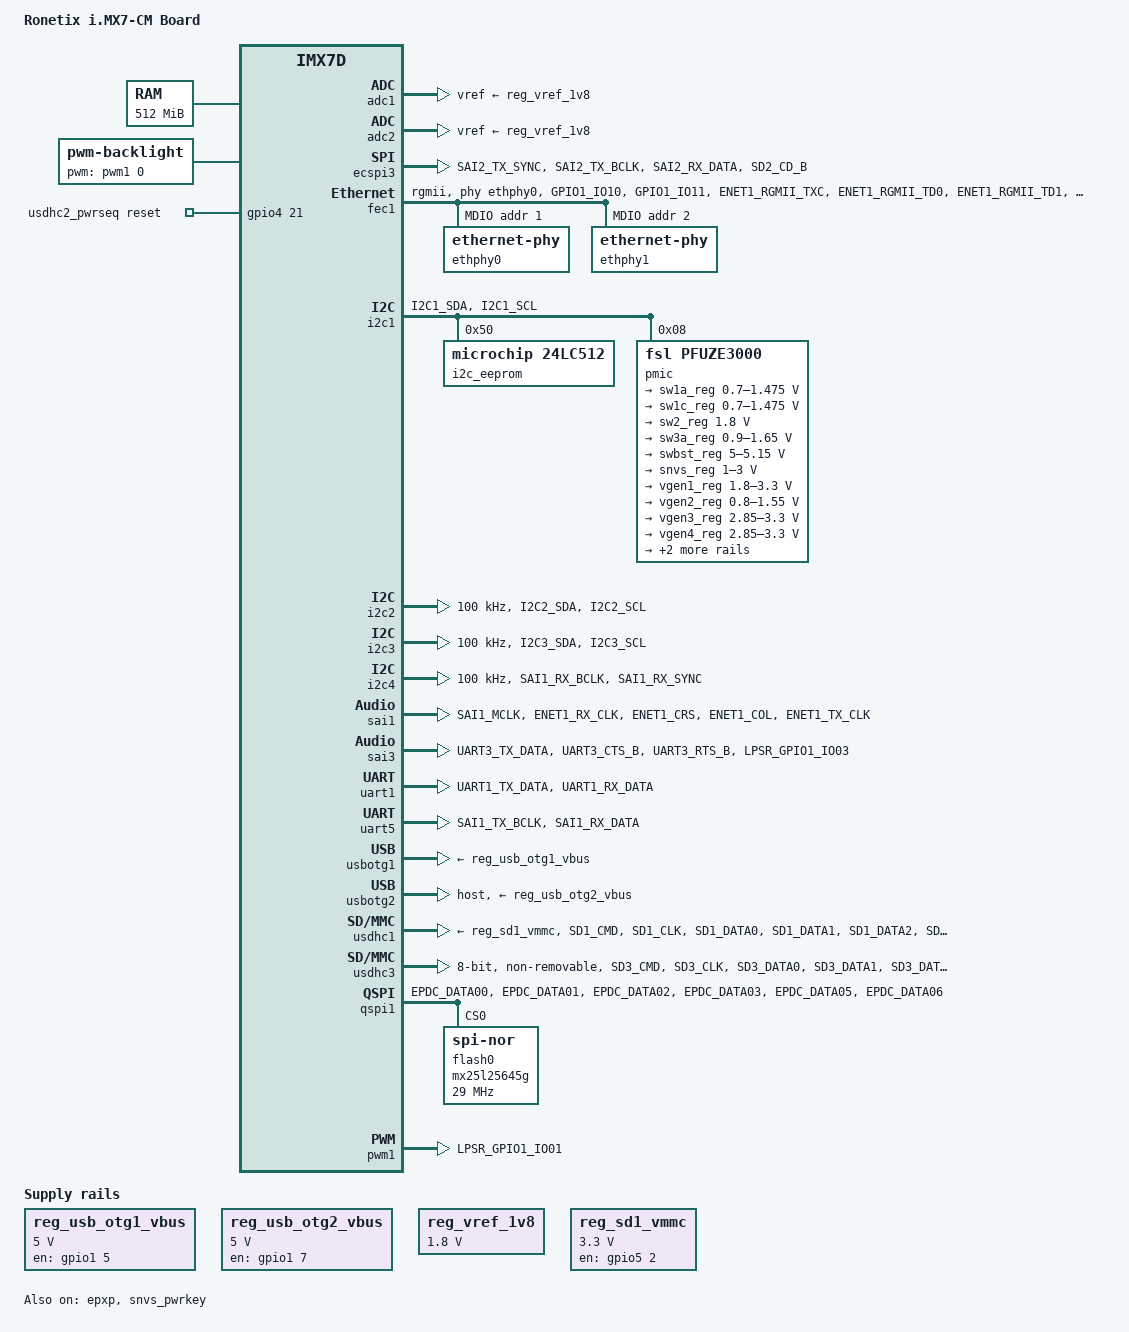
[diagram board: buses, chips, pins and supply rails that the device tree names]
// SPDX-License-Identifier: GPL-2.0+
/*
 * Copyright 2017 NXP
 */

/dts-v1/;

#include "imx7d.dtsi"

/ {
	model = "Ronetix i.MX7-CM Board";
	compatible = "fsl,imx7d-sdb", "fsl,imx7d";

	chosen {
		stdout-path = &uart1;
	};

	memory@80000000 {
		device_type = "memory";
		reg = <0x80000000 0x20000000>;
	};

	reg_usb_otg1_vbus: regulator-usb-otg1-vbus {
		compatible = "regulator-fixed";
		regulator-name = "usb_otg1_vbus";
		regulator-min-microvolt = <5000000>;
		regulator-max-microvolt = <5000000>;
		gpio = <&gpio1 5 GPIO_ACTIVE_HIGH>;
		enable-active-high;
	};

	reg_usb_otg2_vbus: regulator-usb-otg2-vbus {
		compatible = "regulator-fixed";
		regulator-name = "usb_otg2_vbus";
		pinctrl-names = "default";
		pinctrl-0 = <&pinctrl_usb_otg2_vbus_reg>;
		regulator-min-microvolt = <5000000>;
		regulator-max-microvolt = <5000000>;
		gpio = <&gpio1 7 GPIO_ACTIVE_HIGH>;
		enable-active-high;
	};

	reg_vref_1v8: regulator-vref-1v8 {
		compatible = "regulator-fixed";
		regulator-name = "vref-1v8";
		regulator-min-microvolt = <1800000>;
		regulator-max-microvolt = <1800000>;
	};

	reg_sd1_vmmc: regulator-sd1-vmmc {
		compatible = "regulator-fixed";
		regulator-name = "VDD_SD1";
		regulator-min-microvolt = <3300000>;
		regulator-max-microvolt = <3300000>;
		gpio = <&gpio5 2 GPIO_ACTIVE_HIGH>;
		startup-delay-us = <200000>;
		off-on-delay-us = <20000>;
		enable-active-high;
	};

	backlight: backlight {
		compatible = "pwm-backlight";
		pwms = <&pwm1 0 5000000 0>;
		brightness-levels = <0 4 8 16 32 64 128 255>;
		default-brightness-level = <6>;
		status = "okay";
	};

	pxp_v4l2_out {
		compatible = "fsl,imx7d-pxp-v4l2", "fsl,imx6sx-pxp-v4l2", "fsl,imx6sl-pxp-v4l2";
		status = "okay";
	};

	usdhc2_pwrseq: usdhc2_pwrseq {
		compatible = "mmc-pwrseq-simple";
		pinctrl-names = "default";
		pinctrl-0 = <&pinctrl_usdhc2_pwrseq>;
		reset-gpios = <&gpio4 21 GPIO_ACTIVE_HIGH>;
	};
};

&adc1 {
	vref-supply = <&reg_vref_1v8>;
	status = "okay";
};

&adc2 {
	vref-supply = <&reg_vref_1v8>;
	status = "okay";
};

&cpu0 {
	cpu-supply = <&sw1a_reg>;
};

&clks {
	assigned-clocks = <&clks IMX7D_PLL_AUDIO_POST_DIV>;
	assigned-clock-rates = <884736000>;
};

&ecspi3 {
	pinctrl-names = "default";
	pinctrl-0 = <&pinctrl_ecspi3>;
	cs-gpios = <&gpio5 9 GPIO_ACTIVE_HIGH>;
	status = "okay";
};

&epdc {
	status = "disabled";
};

&epxp {
	status = "okay";
};

&fec1 {
	pinctrl-names = "default";
	pinctrl-0 = <&pinctrl_enet1>;
	assigned-clocks = <&clks IMX7D_ENET_PHY_REF_ROOT_SRC>,
			  <&clks IMX7D_ENET_AXI_ROOT_SRC>,
			  <&clks IMX7D_ENET1_TIME_ROOT_SRC>,
			  <&clks IMX7D_ENET1_TIME_ROOT_CLK>,
			  <&clks IMX7D_ENET_AXI_ROOT_CLK>;
	assigned-clock-parents = <&clks IMX7D_PLL_ENET_MAIN_25M_CLK>,
				 <&clks IMX7D_PLL_ENET_MAIN_250M_CLK>,
				 <&clks IMX7D_PLL_ENET_MAIN_100M_CLK>;
	assigned-clock-rates = <0>, <0>, <0>, <100000000>, <250000000>;
	phy-mode = "rgmii";
	phy-handle = <&ethphy0>;
	fsl,magic-packet;
	phy-reset-gpios = <&gpio2 4 GPIO_ACTIVE_LOW>;
	status = "okay";

	mdio {
		#address-cells = <1>;
		#size-cells = <0>;

		ethphy0: ethernet-phy@0 {
			reg = <1>;
		};

		ethphy1: ethernet-phy@1 {
			reg = <2>;
		};
	};
};

&fec2 {
	pinctrl-names = "default";
	pinctrl-0 = <&pinctrl_enet2>;
	assigned-clocks = <&clks IMX7D_ENET_PHY_REF_ROOT_SRC>,
			  <&clks IMX7D_ENET_AXI_ROOT_SRC>,
			  <&clks IMX7D_ENET2_TIME_ROOT_SRC>,
			  <&clks IMX7D_ENET2_TIME_ROOT_CLK>,
			  <&clks IMX7D_ENET_AXI_ROOT_CLK>;
	assigned-clock-parents = <&clks IMX7D_PLL_ENET_MAIN_25M_CLK>,
				 <&clks IMX7D_PLL_ENET_MAIN_250M_CLK>,
				 <&clks IMX7D_PLL_ENET_MAIN_100M_CLK>;
	assigned-clock-rates = <0>, <0>, <0>, <100000000>, <250000000>;
	phy-mode = "rgmii";
	phy-handle = <&ethphy1>;
	fsl,magic-packet;
	status = "disabled";
};

&i2c1 {
	pinctrl-names = "default";
	pinctrl-0 = <&pinctrl_i2c1>;
	status = "okay";

	i2c_eeprom: i2c_eeprom@50 {
		compatible = "microchip,24lc512";
		reg = <0x50>;
		pagesize = <128>;
	};

	pmic: pfuze3000@8 {
		compatible = "fsl,pfuze3000";
		reg = <0x08>;

		regulators {
			sw1a_reg: sw1a {
				regulator-min-microvolt = <700000>;
				regulator-max-microvolt = <1475000>;
				regulator-boot-on;
				regulator-always-on;
				regulator-ramp-delay = <6250>;
			};

			/* use sw1c_reg to align with pfuze100/pfuze200 */
			sw1c_reg: sw1b {
				regulator-min-microvolt = <700000>;
				regulator-max-microvolt = <1475000>;
				regulator-boot-on;
				regulator-always-on;
				regulator-ramp-delay = <6250>;
			};

			sw2_reg: sw2 {
				regulator-min-microvolt = <1800000>;
				regulator-max-microvolt = <1800000>;
				regulator-boot-on;
				regulator-always-on;
			};

			sw3a_reg: sw3 {
				regulator-min-microvolt = <900000>;
				regulator-max-microvolt = <1650000>;
				regulator-boot-on;
				regulator-always-on;
			};

			swbst_reg: swbst {
				regulator-min-microvolt = <5000000>;
				regulator-max-microvolt = <5150000>;
			};

			snvs_reg: vsnvs {
				regulator-min-microvolt = <1000000>;
				regulator-max-microvolt = <3000000>;
				regulator-boot-on;
				regulator-always-on;
			};

			vref_reg: vrefddr {
				regulator-boot-on;
				regulator-always-on;
			};

			vgen1_reg: vldo1 {
				regulator-min-microvolt = <1800000>;
				regulator-max-microvolt = <3300000>;
				regulator-always-on;
			};

			vgen2_reg: vldo2 {
				regulator-min-microvolt = <800000>;
				regulator-max-microvolt = <1550000>;
			};

			vgen3_reg: vccsd {
				regulator-min-microvolt = <2850000>;
				regulator-max-microvolt = <3300000>;
				regulator-always-on;
			};

			vgen4_reg: v33 {
				regulator-min-microvolt = <2850000>;
				regulator-max-microvolt = <3300000>;
				regulator-always-on;
			};

			vgen5_reg: vldo3 {
				regulator-min-microvolt = <1800000>;
				regulator-max-microvolt = <3300000>;
				regulator-always-on;
			};

			vgen6_reg: vldo4 {
				regulator-min-microvolt = <2800000>;
				regulator-max-microvolt = <2800000>;
				regulator-always-on;
			};
		};
	};
};

&i2c2 {
	clock-frequency = <100000>;
	pinctrl-names = "default";
	pinctrl-0 = <&pinctrl_i2c2>;
	status = "okay";
};

&i2c3 {
	clock-frequency = <100000>;
	pinctrl-names = "default";
	pinctrl-0 = <&pinctrl_i2c3>;
	status = "okay";
};

&i2c4 {
	clock-frequency = <100000>;
	pinctrl-names = "default";
	pinctrl-0 = <&pinctrl_i2c4>;
	status = "okay";
};

&sai1 {
	pinctrl-names = "default";
	pinctrl-0 = <&pinctrl_sai1>;
	assigned-clocks = <&clks IMX7D_SAI1_ROOT_SRC>,
			  <&clks IMX7D_SAI1_ROOT_CLK>;
	assigned-clock-parents = <&clks IMX7D_PLL_AUDIO_POST_DIV>;
	assigned-clock-rates = <0>, <36864000>;
	status = "okay";
};

&sai3 {
	pinctrl-names = "default";
	pinctrl-0 = <&pinctrl_sai3 &pinctrl_sai3_mclk>;
	assigned-clocks = <&clks IMX7D_SAI3_ROOT_SRC>,
			  <&clks IMX7D_SAI3_ROOT_CLK>;
	assigned-clock-parents = <&clks IMX7D_PLL_AUDIO_POST_DIV>;
	assigned-clock-rates = <0>, <36864000>;
	status = "okay";
};

&snvs_poweroff {
	status = "okay";
};

&snvs_pwrkey {
	status = "okay";
};

&uart1 {
	pinctrl-names = "default";
	pinctrl-0 = <&pinctrl_uart1>;
	assigned-clocks = <&clks IMX7D_UART1_ROOT_SRC>;
	assigned-clock-parents = <&clks IMX7D_OSC_24M_CLK>;
	status = "okay";
};

&uart5 {
	pinctrl-names = "default";
	pinctrl-0 = <&pinctrl_uart5>;
	assigned-clocks = <&clks IMX7D_UART5_ROOT_SRC>;
	assigned-clock-parents = <&clks IMX7D_PLL_SYS_MAIN_240M_CLK>;
	/* for DTE mode, add below change */
	/* fsl,dte-mode; */
	/* pinctrl-0 = <&pinctrl_uart5dte>; */
	status = "okay";
};

&usbotg1 {
	vbus-supply = <&reg_usb_otg1_vbus>;
	status = "okay";
};

&usbotg2 {
	vbus-supply = <&reg_usb_otg2_vbus>;
	dr_mode = "host";
	status = "okay";
};

&usdhc1 {
	pinctrl-names = "default", "state_100mhz", "state_200mhz";
	pinctrl-0 = <&pinctrl_usdhc1>, <&pinctrl_usdhc1_gpio>;
	pinctrl-1 = <&pinctrl_usdhc1_100mhz>, <&pinctrl_usdhc1_gpio>;
	pinctrl-2 = <&pinctrl_usdhc1_200mhz>, <&pinctrl_usdhc1_gpio>;
	cd-gpios = <&gpio5 0 GPIO_ACTIVE_HIGH>;
	wp-gpios = <&gpio5 1 GPIO_ACTIVE_LOW>;
	vmmc-supply = <&reg_sd1_vmmc>;
	status = "okay";
};

&usdhc2 {
	#address-cells = <1>;
	#size-cells = <0>;
	pinctrl-names = "default", "state_100mhz", "state_200mhz";
	pinctrl-0 = <&pinctrl_usdhc2 &pinctrl_wifi>;
	pinctrl-1 = <&pinctrl_usdhc2_100mhz &pinctrl_wifi>;
	pinctrl-2 = <&pinctrl_usdhc2_200mhz &pinctrl_wifi>;
	keep-power-in-suspend;
	non-removable;
	mmc-pwrseq = <&usdhc2_pwrseq>;
	fsl,tuning-step = <2>;
	pm-ignore-notify;
	cap-power-off-card;
	status = "disabled";
};

&usdhc3 {
	pinctrl-names = "default", "state_100mhz", "state_200mhz";
	pinctrl-0 = <&pinctrl_usdhc3>;
	pinctrl-1 = <&pinctrl_usdhc3_100mhz>;
	pinctrl-2 = <&pinctrl_usdhc3_200mhz>;
	assigned-clocks = <&clks IMX7D_USDHC3_ROOT_CLK>;
	assigned-clock-rates = <400000000>;
	bus-width = <8>;
	non-removable;
	fsl,tuning-start-tap = <20>;
	fsl,tuning-step= <2>;
	/*auto-cmd23-broken;*/
	status = "okay";
};

&qspi1 {
	pinctrl-names = "default";
	pinctrl-0 = <&pinctrl_qspi1_1>;
	status = "okay";
	ddrsmp=<0>;

	flash0: mx25l25645g@0 {
		#address-cells = <1>;
		#size-cells = <1>;
		compatible = "jedec,spi-nor";
		spi-max-frequency = <29000000>;
		reg = <0>;
	};
};

&iomuxc {
	pinctrl-names = "default";
	pinctrl-0 = <&pinctrl_hog>;

	imx7d-cm {
			pinctrl_usdhc2_pwrseq: usdhc2_pwrseqgrp {
			fsl,pins = <
				MX7D_PAD_ECSPI2_MOSI__GPIO4_IO21	0x14	/* WL_REG_ON */
				MX7D_PAD_ECSPI2_SCLK__GPIO4_IO20	0x14 	/* WL_HOST_WAKE */
			>;
		};

		pinctrl_ecspi3: ecspi3grp {
			fsl,pins = <
				MX7D_PAD_SAI2_TX_SYNC__ECSPI3_MISO	0x2
				MX7D_PAD_SAI2_TX_BCLK__ECSPI3_MOSI	0x2
				MX7D_PAD_SAI2_RX_DATA__ECSPI3_SCLK	0x2
				MX7D_PAD_SD2_CD_B__GPIO5_IO9		0x59
			>;
		};

		pinctrl_enet1: enet1grp {
			fsl,pins = <
				MX7D_PAD_GPIO1_IO10__ENET1_MDIO			0x3
				MX7D_PAD_GPIO1_IO11__ENET1_MDC			0x3
				MX7D_PAD_ENET1_RGMII_TXC__ENET1_RGMII_TXC	0x1
				MX7D_PAD_ENET1_RGMII_TD0__ENET1_RGMII_TD0	0x1
				MX7D_PAD_ENET1_RGMII_TD1__ENET1_RGMII_TD1	0x1
				MX7D_PAD_ENET1_RGMII_TD2__ENET1_RGMII_TD2	0x1
				MX7D_PAD_ENET1_RGMII_TD3__ENET1_RGMII_TD3	0x1
				MX7D_PAD_ENET1_RGMII_TX_CTL__ENET1_RGMII_TX_CTL	0x1
				MX7D_PAD_ENET1_RGMII_RXC__ENET1_RGMII_RXC	0x1
				MX7D_PAD_ENET1_RGMII_RD0__ENET1_RGMII_RD0	0x1
				MX7D_PAD_ENET1_RGMII_RD1__ENET1_RGMII_RD1	0x1
				MX7D_PAD_ENET1_RGMII_RD2__ENET1_RGMII_RD2	0x1
				MX7D_PAD_ENET1_RGMII_RD3__ENET1_RGMII_RD3	0x1
				MX7D_PAD_ENET1_RGMII_RX_CTL__ENET1_RGMII_RX_CTL	0x1
				MX7D_PAD_EPDC_DATA04__GPIO2_IO4	0x14	/* ETH_RESET */

			>;
		};

		pinctrl_enet2: enet2grp {
			fsl,pins = <
				MX7D_PAD_EPDC_GDSP__ENET2_RGMII_TXC		0x1
				MX7D_PAD_EPDC_SDCE2__ENET2_RGMII_TD0		0x1
				MX7D_PAD_EPDC_SDCE3__ENET2_RGMII_TD1		0x1
				MX7D_PAD_EPDC_GDCLK__ENET2_RGMII_TD2		0x1
				MX7D_PAD_EPDC_GDOE__ENET2_RGMII_TD3		0x1
				MX7D_PAD_EPDC_GDRL__ENET2_RGMII_TX_CTL		0x1
				MX7D_PAD_EPDC_SDCE1__ENET2_RGMII_RXC		0x1
				MX7D_PAD_EPDC_SDCLK__ENET2_RGMII_RD0		0x1
				MX7D_PAD_EPDC_SDLE__ENET2_RGMII_RD1		0x1
				MX7D_PAD_EPDC_SDOE__ENET2_RGMII_RD2		0x1
				MX7D_PAD_EPDC_SDSHR__ENET2_RGMII_RD3		0x1
				MX7D_PAD_EPDC_SDCE0__ENET2_RGMII_RX_CTL		0x1
			>;
		};

		pinctrl_hog: hoggrp {
			fsl,pins = <
				MX7D_PAD_ECSPI2_SS0__GPIO4_IO23		0x34  /* bt reg on */
			>;
		};

		pinctrl_i2c1: i2c1grp {
			fsl,pins = <
				MX7D_PAD_I2C1_SDA__I2C1_SDA		0x4000007f
				MX7D_PAD_I2C1_SCL__I2C1_SCL		0x4000007f
			>;
		};

		pinctrl_i2c1_gpio: i2c1grp_gpio {
			fsl,pins = <
				MX7D_PAD_I2C1_SDA__GPIO4_IO9	0x7f
				MX7D_PAD_I2C1_SCL__GPIO4_IO8	0x7f
			>;
		};

		pinctrl_i2c2: i2c2grp {
			fsl,pins = <
				MX7D_PAD_I2C2_SDA__I2C2_SDA		0x4000007f
				MX7D_PAD_I2C2_SCL__I2C2_SCL		0x4000007f
			>;
		};

		pinctrl_i2c2_gpio: i2c2grp_gpio {
			fsl,pins = <
				MX7D_PAD_I2C2_SDA__GPIO4_IO11	0x7f
				MX7D_PAD_I2C2_SCL__GPIO4_IO10	0x7f
			>;
		};

		pinctrl_i2c3: i2c3grp {
			fsl,pins = <
				MX7D_PAD_I2C3_SDA__I2C3_SDA		0x4000007f
				MX7D_PAD_I2C3_SCL__I2C3_SCL		0x4000007f
			>;
		};

		pinctrl_i2c4: i2c4grp {
			fsl,pins = <
				MX7D_PAD_SAI1_RX_BCLK__I2C4_SDA		0x4000007f
				MX7D_PAD_SAI1_RX_SYNC__I2C4_SCL		0x4000007f
			>;
		};

		pinctrl_i2c4_gpio: i2c4grp_gpio {
			fsl,pins = <
				MX7D_PAD_SAI1_RX_BCLK__GPIO6_IO17		0x7f
				MX7D_PAD_SAI1_RX_SYNC__GPIO6_IO16		0x7f
			>;
		};

		pinctrl_sai1: sai1grp {
			fsl,pins = <
				MX7D_PAD_SAI1_MCLK__SAI1_MCLK           0x1f
				MX7D_PAD_ENET1_RX_CLK__SAI1_TX_BCLK     0x1f
				MX7D_PAD_ENET1_CRS__SAI1_TX_SYNC	0x1f
				MX7D_PAD_ENET1_COL__SAI1_TX_DATA0	0x30
				MX7D_PAD_ENET1_TX_CLK__SAI1_RX_DATA0	0x1f
			>;
		};

		pinctrl_sai2: sai2grp {
			fsl,pins = <
				MX7D_PAD_SAI2_TX_BCLK__SAI2_TX_BCLK     0x1f
				MX7D_PAD_SAI2_TX_SYNC__SAI2_TX_SYNC     0x1f
				MX7D_PAD_SAI2_TX_DATA__SAI2_TX_DATA0    0x30
				MX7D_PAD_SAI2_RX_DATA__SAI2_RX_DATA0    0x1f
			>;
		};

		pinctrl_sai3: sai3grp {
			fsl,pins = <
				MX7D_PAD_UART3_TX_DATA__SAI3_TX_BCLK   0x1f
				MX7D_PAD_UART3_CTS_B__SAI3_TX_SYNC     0x1f
				MX7D_PAD_UART3_RTS_B__SAI3_TX_DATA0    0x30
			>;
		};

		pinctrl_spi4: spi4grp {
			fsl,pins = <
				MX7D_PAD_GPIO1_IO09__GPIO1_IO9	0x59
				MX7D_PAD_GPIO1_IO12__GPIO1_IO12	0x59
				MX7D_PAD_GPIO1_IO13__GPIO1_IO13	0x59
			>;
		};

		pinctrl_uart1: uart1grp {
			fsl,pins = <
				MX7D_PAD_UART1_TX_DATA__UART1_DCE_TX	0x79
				MX7D_PAD_UART1_RX_DATA__UART1_DCE_RX	0x79
			>;
		};

		pinctrl_uart5: uart5grp {
			fsl,pins = <
				MX7D_PAD_SAI1_TX_BCLK__UART5_DCE_TX	0x79
				MX7D_PAD_SAI1_RX_DATA__UART5_DCE_RX	0x79
			>;
		};

		pinctrl_uart5dte: uart5dtegrp {
			fsl,pins = <
				MX7D_PAD_SAI1_TX_BCLK__UART5_DTE_RX 0x79
				MX7D_PAD_SAI1_RX_DATA__UART5_DTE_TX 0x79
			>;
		};

		pinctrl_uart6: uart6grp {
			fsl,pins = <
				MX7D_PAD_ECSPI1_MOSI__UART6_DCE_TX	0x79
				MX7D_PAD_ECSPI1_SCLK__UART6_DCE_RX	0x79
				MX7D_PAD_ECSPI1_SS0__UART6_DCE_CTS	0x79
				MX7D_PAD_ECSPI1_MISO__UART6_DCE_RTS	0x79
			>;
		};

		pinctrl_usdhc1_gpio: usdhc1_gpiogrp {
			fsl,pins = <
				MX7D_PAD_SD1_CD_B__GPIO5_IO0		0x59 /* CD */
				MX7D_PAD_SD1_WP__GPIO5_IO1			0x59 /* WP */
				MX7D_PAD_SD1_RESET_B__GPIO5_IO2		0x59 /* vmmc */
				MX7D_PAD_GPIO1_IO08__SD1_VSELECT	0x59 /* VSELECT */
			>;
		};

		pinctrl_usdhc1: usdhc1grp {
			fsl,pins = <
				MX7D_PAD_SD1_CMD__SD1_CMD		0x59
				MX7D_PAD_SD1_CLK__SD1_CLK		0x19
				MX7D_PAD_SD1_DATA0__SD1_DATA0		0x59
				MX7D_PAD_SD1_DATA1__SD1_DATA1		0x59
				MX7D_PAD_SD1_DATA2__SD1_DATA2		0x59
				MX7D_PAD_SD1_DATA3__SD1_DATA3		0x59
			>;
		};

		pinctrl_usdhc1_100mhz: usdhc1grp_100mhz {
			fsl,pins = <
				MX7D_PAD_SD1_CMD__SD1_CMD		0x5a
				MX7D_PAD_SD1_CLK__SD1_CLK		0x1a
				MX7D_PAD_SD1_DATA0__SD1_DATA0		0x5a
				MX7D_PAD_SD1_DATA1__SD1_DATA1		0x5a
				MX7D_PAD_SD1_DATA2__SD1_DATA2		0x5a
				MX7D_PAD_SD1_DATA3__SD1_DATA3		0x5a
			>;
		};

		pinctrl_usdhc1_200mhz: usdhc1grp_200mhz {
			fsl,pins = <
				MX7D_PAD_SD1_CMD__SD1_CMD		0x5b
				MX7D_PAD_SD1_CLK__SD1_CLK		0x1b
				MX7D_PAD_SD1_DATA0__SD1_DATA0		0x5b
				MX7D_PAD_SD1_DATA1__SD1_DATA1		0x5b
				MX7D_PAD_SD1_DATA2__SD1_DATA2		0x5b
				MX7D_PAD_SD1_DATA3__SD1_DATA3		0x5b
			>;
		};

		pinctrl_usdhc2: usdhc2grp {
			fsl,pins = <
				MX7D_PAD_SD2_CMD__SD2_CMD		0x59
				MX7D_PAD_SD2_CLK__SD2_CLK		0x19
				MX7D_PAD_SD2_DATA0__SD2_DATA0		0x59
				MX7D_PAD_SD2_DATA1__SD2_DATA1		0x59
				MX7D_PAD_SD2_DATA2__SD2_DATA2		0x59
				MX7D_PAD_SD2_DATA3__SD2_DATA3		0x59
			>;
		};

		pinctrl_usdhc2_100mhz: usdhc2grp_100mhz {
			fsl,pins = <
				MX7D_PAD_SD2_CMD__SD2_CMD		0x5a
				MX7D_PAD_SD2_CLK__SD2_CLK		0x1a
				MX7D_PAD_SD2_DATA0__SD2_DATA0		0x5a
				MX7D_PAD_SD2_DATA1__SD2_DATA1		0x5a
				MX7D_PAD_SD2_DATA2__SD2_DATA2		0x5a
				MX7D_PAD_SD2_DATA3__SD2_DATA3		0x5a
			>;
		};

		pinctrl_usdhc2_200mhz: usdhc2grp_200mhz {
			fsl,pins = <
				MX7D_PAD_SD2_CMD__SD2_CMD		0x5b
				MX7D_PAD_SD2_CLK__SD2_CLK		0x1b
				MX7D_PAD_SD2_DATA0__SD2_DATA0		0x5b
				MX7D_PAD_SD2_DATA1__SD2_DATA1		0x5b
				MX7D_PAD_SD2_DATA2__SD2_DATA2		0x5b
				MX7D_PAD_SD2_DATA3__SD2_DATA3		0x5b
			>;
		};


		pinctrl_usdhc3: usdhc3grp {
			fsl,pins = <
				MX7D_PAD_SD3_CMD__SD3_CMD		0x59
				MX7D_PAD_SD3_CLK__SD3_CLK		0x19
				MX7D_PAD_SD3_DATA0__SD3_DATA0		0x59
				MX7D_PAD_SD3_DATA1__SD3_DATA1		0x59
				MX7D_PAD_SD3_DATA2__SD3_DATA2		0x59
				MX7D_PAD_SD3_DATA3__SD3_DATA3		0x59
				MX7D_PAD_SD3_DATA4__SD3_DATA4		0x59
				MX7D_PAD_SD3_DATA5__SD3_DATA5		0x59
				MX7D_PAD_SD3_DATA6__SD3_DATA6		0x59
				MX7D_PAD_SD3_DATA7__SD3_DATA7		0x59
				MX7D_PAD_SD3_STROBE__SD3_STROBE		0x19
			>;
		};

		pinctrl_usdhc3_100mhz: usdhc3grp_100mhz {
			fsl,pins = <
				MX7D_PAD_SD3_CMD__SD3_CMD		0x5a
				MX7D_PAD_SD3_CLK__SD3_CLK		0x1a
				MX7D_PAD_SD3_DATA0__SD3_DATA0		0x5a
				MX7D_PAD_SD3_DATA1__SD3_DATA1		0x5a
				MX7D_PAD_SD3_DATA2__SD3_DATA2		0x5a
				MX7D_PAD_SD3_DATA3__SD3_DATA3		0x5a
				MX7D_PAD_SD3_DATA4__SD3_DATA4		0x5a
				MX7D_PAD_SD3_DATA5__SD3_DATA5		0x5a
				MX7D_PAD_SD3_DATA6__SD3_DATA6		0x5a
				MX7D_PAD_SD3_DATA7__SD3_DATA7		0x5a
				MX7D_PAD_SD3_STROBE__SD3_STROBE		0x1a
			>;
		};

		pinctrl_usdhc3_200mhz: usdhc3grp_200mhz {
			fsl,pins = <
				MX7D_PAD_SD3_CMD__SD3_CMD		0x5b
				MX7D_PAD_SD3_CLK__SD3_CLK		0x1b
				MX7D_PAD_SD3_DATA0__SD3_DATA0		0x5b
				MX7D_PAD_SD3_DATA1__SD3_DATA1		0x5b
				MX7D_PAD_SD3_DATA2__SD3_DATA2		0x5b
				MX7D_PAD_SD3_DATA3__SD3_DATA3		0x5b
				MX7D_PAD_SD3_DATA4__SD3_DATA4		0x5b
				MX7D_PAD_SD3_DATA5__SD3_DATA5		0x5b
				MX7D_PAD_SD3_DATA6__SD3_DATA6		0x5b
				MX7D_PAD_SD3_DATA7__SD3_DATA7		0x5b
				MX7D_PAD_SD3_STROBE__SD3_STROBE		0x1b
			>;
		};

		pinctrl_wifi: wifigrp {
			fsl,pins = <
				MX7D_PAD_ECSPI2_SCLK__GPIO4_IO20	0x19 /* WL_HOST_WAKE */
			>;
		};

		pinctrl_qspi1_1: qspi1grp_1 {
			fsl,pins = <
				MX7D_PAD_EPDC_DATA00__QSPI_A_DATA0 0x51
				MX7D_PAD_EPDC_DATA01__QSPI_A_DATA1 0x51
				MX7D_PAD_EPDC_DATA02__QSPI_A_DATA2 0x51
				MX7D_PAD_EPDC_DATA03__QSPI_A_DATA3 0x51
				MX7D_PAD_EPDC_DATA05__QSPI_A_SCLK 0x51
				MX7D_PAD_EPDC_DATA06__QSPI_A_SS0_B 0x51
			>;
		};
	};
};

&pwm1 {
	pinctrl-names = "default";
	pinctrl-0 = <&pinctrl_pwm1>;
	status = "okay";
};

&iomuxc_lpsr {
	pinctrl-names = "default";
	pinctrl-0 = <&pinctrl_hog_2 &pinctrl_usb_otg2_vbus_reg>;

	pinctrl_hog_2: hoggrp-2 {
		fsl,pins = <
			MX7D_PAD_LPSR_GPIO1_IO05__GPIO1_IO5	  0x14
		>;
	};

	pinctrl_pwm1: pwm1grp {
		fsl,pins = <
			MX7D_PAD_LPSR_GPIO1_IO01__PWM1_OUT		0x30
		>;
	};

	pinctrl_usb_otg2_vbus_reg: usbotg2vbusreggrp {
		fsl,pins = <
			MX7D_PAD_LPSR_GPIO1_IO07__GPIO1_IO7	  0x14
		>;
	};

	pinctrl_sai3_mclk: sai3grp_mclk {
		fsl,pins = <
			MX7D_PAD_LPSR_GPIO1_IO03__SAI3_MCLK	0x1f
		>;
	};

};
